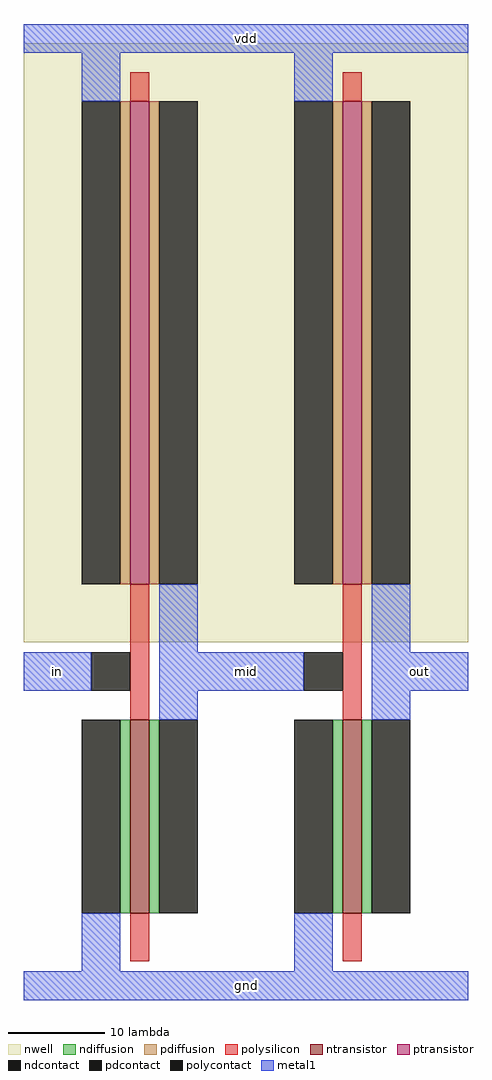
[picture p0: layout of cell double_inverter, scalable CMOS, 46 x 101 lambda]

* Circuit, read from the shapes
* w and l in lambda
.subckt double_inverter gnd in mid out vdd
M1 mid in gnd VSUBS nfet w=20 l=2
M2 out mid gnd VSUBS nfet w=20 l=2
M3 mid in vdd n1 pfet w=50 l=2
M4 out mid vdd n1 pfet w=50 l=2
.ends

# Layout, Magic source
magic
tech scmos
<< nwell >>
rect 0 0 46 62
<< ntransistor >>
rect 11 -28 13 -8
rect 33 -28 35 -8
<< ptransistor >>
rect 11 6 13 56
rect 33 6 35 56
<< ndiffusion >>
rect 10 -28 11 -8
rect 13 -28 14 -8
rect 32 -28 33 -8
rect 35 -28 36 -8
<< pdiffusion >>
rect 10 6 11 56
rect 13 6 14 56
rect 32 6 33 56
rect 35 6 36 56
<< ndcontact >>
rect 6 -28 10 -8
rect 14 -28 18 -8
rect 28 -28 32 -8
rect 36 -28 40 -8
<< pdcontact >>
rect 6 6 10 56
rect 14 6 18 56
rect 28 6 32 56
rect 36 6 40 56
<< polysilicon >>
rect 11 56 13 59
rect 33 56 35 59
rect 11 -8 13 6
rect 33 -8 35 6
rect 11 -33 13 -28
rect 33 -33 35 -28
<< polycontact >>
rect 7 -5 11 -1
rect 29 -5 33 -1
<< metal1 >>
rect 0 61 46 64
rect 6 56 10 61
rect 28 56 32 61
rect 14 -1 18 6
rect 36 -1 40 6
rect 0 -5 7 -1
rect 14 -5 29 -1
rect 36 -5 46 -1
rect 14 -8 18 -5
rect 36 -8 40 -5
rect 6 -34 10 -28
rect 28 -34 32 -28
rect 0 -37 46 -34
<< labels >>
rlabel metal1 0 -37 46 -34 1 gnd
rlabel metal1 0 61 46 64 5 vdd
rlabel metal1 0 -5 7 -1 3 in
rlabel metal1 36 -5 46 -1 7 out
rlabel metal1 18 -5 28 -1 1 mid
<< end >>
